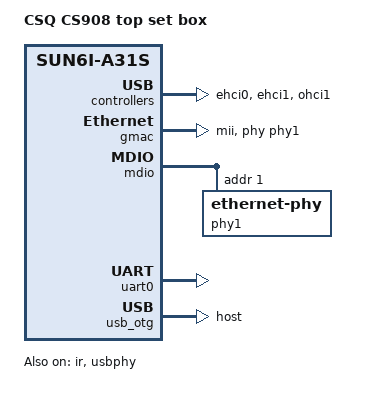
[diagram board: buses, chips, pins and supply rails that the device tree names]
/dts-v1/;
#include "sun6i-a31s.dtsi"
/ {
	model = "CSQ CS908 top set box";
	compatible = "csq,cs908", "allwinner,sun6i-a31s";
	aliases {
		serial0 = &uart0;
	};
	chosen {
		stdout-path = "serial0:115200n8";
	};
};
&ehci0 {
	status = "okay";
};
&ehci1 {
	status = "okay";
};
&gmac {
	pinctrl-names = "default";
	pinctrl-0 = <&gmac_mii_pins>;
	phy-handle = <&phy1>;
	phy-mode = "mii";
	status = "okay";
};
&ir {
	pinctrl-names = "default";
	pinctrl-0 = <&s_ir_rx_pin>;
	status = "okay";
};
&mdio {
	phy1: ethernet-phy@1 {
		reg = <1>;
	};
};
&ohci1 {
	status = "okay";
};
&uart0 {
	pinctrl-names = "default";
	pinctrl-0 = <&uart0_ph_pins>;
	status = "okay";
};
&usb_otg {
	dr_mode = "host";
	status = "okay";
};
&usbphy {
	status = "okay";
};
